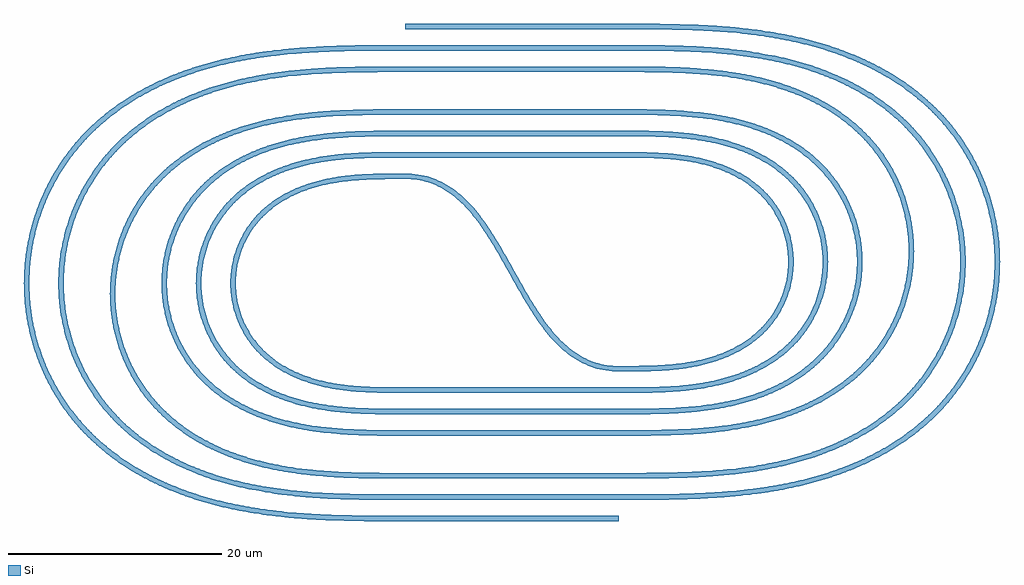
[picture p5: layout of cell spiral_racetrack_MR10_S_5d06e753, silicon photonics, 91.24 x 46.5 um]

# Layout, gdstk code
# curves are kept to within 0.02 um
from math import pi, radians
import gdstk
lib = gdstk.Library(unit=1e-6, precision=1e-09)
def R(c, l, rs):  # rectangles x0, y0, x1, y1
    for r in rs: c.add(gdstk.rectangle(r[:2], r[2:], *l))
def P(c, l, *ps):  # polygons
    for p in ps: c.add(gdstk.Polygon(p, *l))
Si = (1, 0)

straight_gdsfactorypcom_ = lib.new_cell('straight_gdsfactorypcom_7f5722a8')
R(straight_gdsfactorypcom_, Si, [(0,-0.25,20,0.25)])

bend_s_gdsfactorypcompo_ = lib.new_cell('bend_s_gdsfactorypcompo_db9050a3')
P(bend_s_gdsfactorypcompo_, Si, [(20,-18.25),(19.381,-18.227),(18.497,-18.11),(17.937,-17.979),(17.136,-17.708),(16.629,-17.481),(15.906,-17.076),(15.225,-16.599),(14.584,-16.059),(13.977,-15.462),(13.402,-14.814),(12.854,-14.123),(12.16,-13.143),(11.02,-11.311),(8.86,-7.479),(7.915,-5.893),(6.919,-4.411),(6.394,-3.725),(5.848,-3.084),(5.276,-2.494),(4.676,-1.961),(4.045,-1.49),(3.606,-1.213),(2.676,-0.756),(1.931,-0.503),(1.408,-0.381),(0.863,-0.298),(0,-0.25),(0,0.25),(0.619,0.227),(1.503,0.11),(2.063,-0.021),(2.864,-0.292),(3.371,-0.519),(4.094,-0.924),(4.775,-1.401),(5.416,-1.941),(6.023,-2.538),(6.598,-3.186),(7.146,-3.877),(7.84,-4.857),(8.98,-6.689),(11.14,-10.521),(12.085,-12.107),(13.081,-13.589),(13.606,-14.275),(14.152,-14.916),(14.724,-15.506),(15.324,-16.039),(15.955,-16.51),(16.394,-16.787),(17.324,-17.244),(18.069,-17.497),(18.592,-17.619),(19.137,-17.702),(20,-17.75)])

bend_euler_gdsfactorypc_ = lib.new_cell('bend_euler_gdsfactorypc_c91d0292')
P(bend_euler_gdsfactorypc_, Si, [(0,-0.25),(0,0.25),(2.604,0.273),(4.503,0.368),(6.214,0.563),(7.73,0.858),(8.883,1.184),(9.845,1.539),(10.772,1.97),(11.655,2.481),(12.614,3.182),(13.475,3.996),(14.121,4.779),(14.755,5.779),(15.188,6.697),(15.556,7.822),(15.77,8.987),(15.828,10),(15.77,11.013),(15.556,12.178),(15.188,13.303),(14.755,14.221),(14.121,15.221),(13.475,16.004),(12.614,16.818),(11.655,17.519),(10.772,18.03),(9.845,18.461),(8.883,18.816),(7.73,19.142),(6.214,19.437),(4.503,19.632),(2.604,19.727),(0,19.75),(0,20.25),(2.268,20.235),(4.192,20.156),(5.766,20.005),(7.158,19.779),(8.531,19.447),(9.707,19.055),(10.844,18.555),(11.47,18.218),(12.075,17.842),(12.795,17.316),(13.594,16.602),(14.195,15.94),(14.73,15.224),(15.194,14.46),(15.583,13.655),(15.893,12.817),(16.122,11.953),(16.267,11.071),(16.328,10),(16.285,9.107),(16.157,8.222),(15.893,7.183),(15.583,6.345),(15.194,5.54),(14.73,4.776),(14.195,4.06),(13.594,3.398),(13.07,2.912),(12.368,2.361),(11.624,1.872),(10.844,1.445),(10.036,1.077),(9.207,0.765),(8.361,0.505),(7.331,0.256),(6.463,0.096),(5.417,-0.047),(4.192,-0.156),(2.967,-0.217)])

c_bend_euler_gdsfactorypc_ = lib.new_cell('bend_euler_gdsfactorypc_ef0cefc1')
P(c_bend_euler_gdsfactorypc_, Si, [(0,-0.25),(0,0.25),(3.107,0.277),(5.169,0.374),(7.216,0.589),(9.067,0.929),(10.386,1.281),(11.671,1.734),(12.909,2.298),(13.94,2.888),(15.042,3.677),(15.556,4.117),(16.043,4.589),(16.502,5.094),(16.928,5.628),(17.319,6.188),(17.673,6.772),(17.989,7.378),(18.265,8.002),(18.501,8.643),(18.695,9.298),(18.847,9.964),(18.956,10.638),(19.022,11.317),(19.044,12),(19.022,12.683),(18.956,13.362),(18.847,14.036),(18.695,14.702),(18.501,15.357),(18.265,15.998),(17.989,16.622),(17.673,17.228),(17.319,17.812),(16.928,18.372),(16.502,18.906),(16.043,19.411),(15.556,19.883),(15.042,20.323),(13.94,21.112),(12.909,21.702),(11.671,22.266),(10.386,22.719),(9.067,23.071),(7.216,23.411),(5.169,23.626),(3.107,23.723),(0,23.75),(0,24.25),(2.773,24.231),(5.032,24.137),(6.941,23.953),(8.665,23.669),(10.197,23.297),(11.034,23.035),(11.858,22.73),(12.664,22.379),(13.294,22.065),(14.504,21.341),(15.493,20.601),(16.277,19.887),(16.998,19.093),(17.639,18.234),(18.195,17.317),(18.66,16.351),(19.031,15.344),(19.303,14.307),(19.474,13.249),(19.544,12),(19.492,10.929),(19.338,9.868),(19.083,8.827),(18.729,7.814),(18.195,6.683),(17.639,5.766),(16.998,4.907),(16.277,4.113),(15.628,3.513),(14.794,2.86),(13.908,2.281),(12.981,1.774),(12.02,1.337),(11.034,0.965),(10.028,0.656),(9.008,0.403),(7.632,0.146),(6.421,-0.015),(5.205,-0.125),(3.815,-0.201)])

c_bend_euler_gdsfactorypc__ = lib.new_cell('bend_euler_gdsfactorypc_c6e60cf4')
P(c_bend_euler_gdsfactorypc__, Si, [(0,-0.25),(0,0.25),(4.637,0.282),(6.523,0.339),(8.234,0.43),(9.77,0.551),(11.301,0.717),(12.992,0.962),(14.336,1.21),(15.503,1.469),(16.823,1.817),(17.963,2.169),(19.086,2.569),(20.034,2.951),(21.271,3.52),(22.324,4.076),(23.201,4.596),(24.191,5.255),(25.141,5.97),(25.918,6.628),(26.778,7.449),(27.478,8.204),(28.238,9.135),(28.933,10.114),(29.477,10.989),(29.969,11.894),(30.476,12.983),(30.909,14.104),(31.266,15.251),(31.545,16.419),(31.746,17.604),(31.854,18.628),(31.906,19.828),(31.877,21.029),(31.768,22.226),(31.579,23.412),(31.354,24.417),(31.019,25.571),(30.67,26.54),(30.195,27.643),(29.729,28.562),(29.211,29.452),(28.544,30.451),(27.811,31.403),(27.016,32.304),(26.292,33.028),(25.403,33.815),(24.467,34.547),(23.488,35.222),(22.472,35.84),(21.423,36.404),(20.502,36.844),(19.404,37.308),(18.286,37.722),(16.986,38.136),(15.834,38.449),(14.671,38.72),(13.329,38.98),(11.979,39.193),(10.281,39.399),(8.747,39.534),(7.037,39.638),(5.152,39.706),(0,39.75),(0,40.25),(4.648,40.218),(6.716,40.153),(8.267,40.069),(9.816,39.947),(11.363,39.779),(12.904,39.559),(14.266,39.314),(15.62,39.017),(17.127,38.616),(18.285,38.251),(19.588,37.773),(20.865,37.227),(21.957,36.691),(23.02,36.099),(24.05,35.45),(24.763,34.95),(25.589,34.311),(26.887,33.149),(27.5,32.518),(28.084,31.857),(28.635,31.168),(29.153,30.454),(29.636,29.716),(30.168,28.801),(30.571,28.016),(30.936,27.213),(31.262,26.393),(31.548,25.558),(31.794,24.711),(32.035,23.681),(32.217,22.638),(32.304,21.937),(32.376,21.058),(32.406,20.176),(32.393,19.294),(32.322,18.238),(32.217,17.362),(32.035,16.319),(31.794,15.289),(31.548,14.442),(31.262,13.607),(30.936,12.787),(30.571,11.984),(30.168,11.199),(29.728,10.435),(29.252,9.692),(28.419,8.553),(27.854,7.875),(27.258,7.225),(26.636,6.609),(25.989,6.025),(24.763,5.05),(23.318,4.08),(22.417,3.555),(21.648,3.15),(19.91,2.357),(18.285,1.749),(16.627,1.242),(14.775,0.791),(12.562,0.387),(10.504,0.122),(8.267,-0.069),(6.199,-0.174),(3.786,-0.233)])

c_bend_euler_gdsfactorypc___ = lib.new_cell('bend_euler_gdsfactorypc_7570dd34')
P(c_bend_euler_gdsfactorypc___, Si, [(0,-0.25),(0,0.25),(3.611,0.281),(6.008,0.393),(7.201,0.497),(8.389,0.641),(10.404,1.002),(12.052,1.431),(13.656,1.994),(15.046,2.627),(16.368,3.387),(16.929,3.767),(17.602,4.278),(18.241,4.831),(18.847,5.428),(19.305,5.94),(19.837,6.614),(20.229,7.179),(20.674,7.914),(21.067,8.678),(21.343,9.307),(21.584,9.951),(21.835,10.772),(22.028,11.609),(22.164,12.457),(22.241,13.313),(22.259,14),(22.241,14.687),(22.164,15.543),(22.028,16.391),(21.835,17.228),(21.584,18.049),(21.343,18.693),(21.067,19.322),(20.674,20.086),(20.229,20.821),(19.837,21.386),(19.305,22.06),(18.847,22.572),(18.241,23.169),(17.602,23.722),(16.929,24.233),(16.368,24.613),(15.046,25.373),(13.656,26.006),(12.052,26.569),(10.404,26.998),(8.389,27.359),(7.201,27.503),(6.008,27.607),(3.611,27.719),(0,27.75),(0,28.25),(3.278,28.227),(5.871,28.118),(7.253,28.001),(8.287,27.878),(10.172,27.559),(12.03,27.097),(13.026,26.777),(13.843,26.469),(14.645,26.124),(15.429,25.738),(16.192,25.31),(16.931,24.841),(18.053,23.999),(18.96,23.172),(19.801,22.246),(20.549,21.243),(21.196,20.173),(21.738,19.046),(22.168,17.872),(22.363,17.184),(22.519,16.487),(22.699,15.249),(22.759,14),(22.699,12.751),(22.519,11.513),(22.363,10.816),(22.168,10.128),(21.738,8.954),(21.196,7.827),(20.549,6.757),(19.914,5.893),(19.086,4.956),(18.32,4.229),(17.361,3.462),(16.342,2.78),(15.274,2.182),(14.166,1.664),(12.861,1.166),(11.695,0.807),(10.172,0.441),(8.803,0.197),(7.253,-0.001),(5.871,-0.118),(4.142,-0.204)])

c_bend_euler_gdsfactorypc____ = lib.new_cell('bend_euler_gdsfactorypc_16f50664')
P(c_bend_euler_gdsfactorypc____, Si, [(0,-0.25),(0,0.25),(4.326,0.286),(7.43,0.433),(8.803,0.555),(10.171,0.722),(11.36,0.91),(12.541,1.142),(13.544,1.378),(14.701,1.702),(16.482,2.324),(17.272,2.655),(18.2,3.094),(18.955,3.496),(19.835,4.023),(20.683,4.599),(21.494,5.224),(22.264,5.899),(22.988,6.622),(23.552,7.261),(24.181,8.068),(24.754,8.915),(25.187,9.649),(25.578,10.406),(25.991,11.342),(26.286,12.142),(26.58,13.122),(26.807,14.119),(26.967,15.129),(27.049,15.978),(27.083,17),(27.049,18.022),(26.967,18.871),(26.807,19.881),(26.58,20.878),(26.286,21.858),(25.991,22.658),(25.578,23.594),(25.187,24.351),(24.754,25.085),(24.181,25.932),(23.552,26.739),(22.988,27.378),(22.264,28.101),(21.494,28.776),(20.683,29.401),(19.835,29.977),(18.955,30.504),(18.2,30.906),(17.272,31.345),(16.482,31.676),(14.701,32.298),(13.544,32.622),(12.541,32.858),(11.36,33.09),(10.171,33.278),(8.803,33.445),(7.43,33.567),(4.326,33.714),(0,33.75),(0,34.25),(3.991,34.222),(7.119,34.09),(8.508,33.977),(9.894,33.82),(11.103,33.641),(12.305,33.419),(13.498,33.149),(14.512,32.876),(15.68,32.506),(16.828,32.076),(17.794,31.658),(18.892,31.109),(19.656,30.676),(20.544,30.109),(21.812,29.162),(22.986,28.099),(23.936,27.06),(24.888,25.794),(25.709,24.438),(26.32,23.169),(26.868,21.683),(27.264,20.149),(27.503,18.582),(27.583,17),(27.503,15.418),(27.264,13.851),(26.868,12.317),(26.32,10.831),(25.709,9.562),(24.888,8.206),(24.048,7.076),(23.232,6.153),(22.214,5.179),(21.118,4.297),(19.806,3.415),(18.582,2.727),(17.152,2.058),(15.68,1.494),(14.175,1.029),(12.647,0.653),(10.93,0.331),(9.202,0.096),(7.293,-0.078),(5.381,-0.181),(2.949,-0.239)])

c_bend_euler_gdsfactorypc_____ = lib.new_cell('bend_euler_gdsfactorypc_4ba0df98')
P(c_bend_euler_gdsfactorypc_____, Si, [(0,-0.25),(0,0.25),(4.998,0.283),(7.406,0.358),(9.123,0.452),(11.007,0.606),(12.883,0.822),(14.41,1.053),(15.927,1.338),(17.43,1.683),(18.587,1.996),(19.894,2.404),(21.181,2.87),(22.444,3.396),(23.525,3.908),(24.581,4.469),(25.608,5.08),(26.74,5.842),(27.691,6.564),(28.599,7.338),(29.579,8.285),(30.492,9.297),(31.231,10.233),(31.913,11.211),(32.618,12.377),(33.167,13.435),(33.716,14.683),(34.177,15.965),(34.507,17.111),(34.767,18.274),(34.957,19.452),(35.075,20.638),(35.122,22),(35.075,23.362),(34.957,24.548),(34.767,25.726),(34.507,26.889),(34.177,28.035),(33.716,29.317),(33.167,30.565),(32.618,31.623),(31.913,32.789),(31.231,33.767),(30.492,34.703),(29.579,35.715),(28.599,36.662),(27.691,37.436),(26.74,38.158),(25.608,38.92),(24.581,39.531),(23.525,40.092),(22.444,40.604),(21.181,41.13),(19.894,41.596),(18.587,42.004),(17.43,42.317),(15.927,42.662),(14.41,42.947),(12.883,43.178),(11.007,43.394),(9.123,43.548),(7.406,43.642),(4.998,43.717),(0,43.75),(0,44.25),(5.008,44.217),(7.255,44.149),(9.156,44.047),(11.055,43.892),(12.434,43.74),(13.979,43.524),(15.518,43.254),(17.046,42.925),(18.559,42.532),(20.054,42.069),(21.362,41.596),(22.488,41.131),(23.905,40.461),(25.279,39.706),(26.459,38.962),(27.314,38.359),(28.14,37.716),(28.804,37.15),(29.57,36.435),(30.298,35.681),(30.874,35.025),(31.528,34.205),(32.138,33.353),(32.612,32.62),(33.139,31.714),(33.618,30.782),(34.048,29.826),(34.428,28.849),(34.706,28.021),(34.991,27.013),(35.225,25.991),(35.405,24.959),(35.514,24.092),(35.595,23.048),(35.622,22),(35.595,20.952),(35.514,19.908),(35.405,19.041),(35.225,18.009),(34.991,16.987),(34.706,15.979),(34.428,15.151),(34.048,14.174),(33.618,13.218),(33.139,12.286),(32.703,11.529),(32.138,10.647),(31.097,9.245),(30.416,8.448),(29.817,7.812),(29.192,7.203),(28.408,6.507),(27.032,5.436),(25.429,4.383),(23.905,3.539),(22.008,2.664),(20.054,1.931),(18.056,1.329),(16.198,0.884),(13.979,0.476),(11.573,0.161),(9.502,-0.023),(6.909,-0.163),(4.317,-0.229)])

spiral_racetrack_mr10_s_ = lib.new_cell('spiral_racetrack_MR10_S_5d06e753')
spiral_racetrack_mr10_s_.add(gdstk.Reference(straight_gdsfactorypcom_, (0,-32)))
spiral_racetrack_mr10_s_.add(gdstk.Reference(straight_gdsfactorypcom_, (0,-30)))
spiral_racetrack_mr10_s_.add(gdstk.Reference(straight_gdsfactorypcom_, (0,-28)))
spiral_racetrack_mr10_s_.add(gdstk.Reference(straight_gdsfactorypcom_, (0,-24)))
spiral_racetrack_mr10_s_.add(gdstk.Reference(straight_gdsfactorypcom_, (0,-22)))
spiral_racetrack_mr10_s_.add(gdstk.Reference(straight_gdsfactorypcom_, (0,-20)))
spiral_racetrack_mr10_s_.add(gdstk.Reference(bend_s_gdsfactorypcompo_, (0,0)))
spiral_racetrack_mr10_s_.add(gdstk.Reference(bend_euler_gdsfactorypc_, (0,0), rotation=pi))
spiral_racetrack_mr10_s_.add(gdstk.Reference(c_bend_euler_gdsfactorypc_, (20,-20)))
spiral_racetrack_mr10_s_.add(gdstk.Reference(c_bend_euler_gdsfactorypc__, (0,10), rotation=pi))
spiral_racetrack_mr10_s_.add(gdstk.Reference(straight_gdsfactorypcom_, (20,2), rotation=pi))
spiral_racetrack_mr10_s_.add(gdstk.Reference(straight_gdsfactorypcom_, (20,4), rotation=pi))
spiral_racetrack_mr10_s_.add(gdstk.Reference(straight_gdsfactorypcom_, (20,6), rotation=pi))
spiral_racetrack_mr10_s_.add(gdstk.Reference(straight_gdsfactorypcom_, (20,10), rotation=pi))
spiral_racetrack_mr10_s_.add(gdstk.Reference(straight_gdsfactorypcom_, (20,12), rotation=pi))
spiral_racetrack_mr10_s_.add(gdstk.Reference(straight_gdsfactorypcom_, (20,14), rotation=pi))
spiral_racetrack_mr10_s_.add(gdstk.Reference(c_bend_euler_gdsfactorypc___, (0,4), rotation=pi))
spiral_racetrack_mr10_s_.add(gdstk.Reference(c_bend_euler_gdsfactorypc____, (20,-24)))
spiral_racetrack_mr10_s_.add(gdstk.Reference(c_bend_euler_gdsfactorypc_____, (20,-30)))
spiral_racetrack_mr10_s_.add(gdstk.Reference(bend_euler_gdsfactorypc_, (20,-18)))
spiral_racetrack_mr10_s_.add(gdstk.Reference(c_bend_euler_gdsfactorypc_, (0,2), rotation=pi))
spiral_racetrack_mr10_s_.add(gdstk.Reference(c_bend_euler_gdsfactorypc___, (20,-22)))
spiral_racetrack_mr10_s_.add(gdstk.Reference(c_bend_euler_gdsfactorypc____, (0,6), rotation=pi))
spiral_racetrack_mr10_s_.add(gdstk.Reference(c_bend_euler_gdsfactorypc__, (20,-28)))
spiral_racetrack_mr10_s_.add(gdstk.Reference(c_bend_euler_gdsfactorypc_____, (0,12), rotation=pi))

lib.write_gds('spiral_racetrack_MR10_S_5d06e753.gds')
